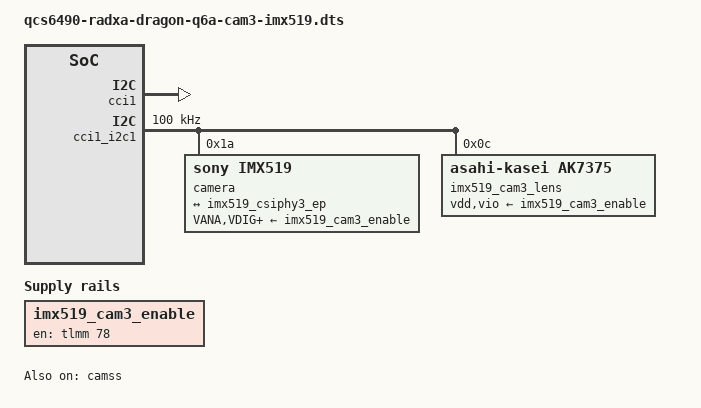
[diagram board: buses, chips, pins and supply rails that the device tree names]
// SPDX-License-Identifier: BSD-3-Clause
// Based on Radxa's CAM3 IMX219 overlay (radxa-overlays 0.2.30).
// Copyright (c) 2025 Radxa Computer (Shenzhen) Co., Ltd.
// Sensor and lens bindings follow raspberrypi/linux imx519.dtsi.
/dts-v1/;
/plugin/;

#include <dt-bindings/gpio/gpio.h>

/ {
    metadata {
        title = "Enable Arducam IMX519 on CAM3 (experimental)";
        compatible = "radxa,dragon-q6a";
        category = "camera";
        exclusive = "cci1_i2c1", "gpio78";
        description = "Arducam IMX519 with AK7375 lens on CAM3; requires external drivers.";
    };
};

&{/} {
    imx519_cam3_clk: imx519-cam3-clock {
        compatible = "fixed-clock";
        #clock-cells = <0>;
        clock-frequency = <24000000>;
    };

    // Arducam supplies its own oscillator and internal voltage regulators.
    // GPIO78 is the CAM3 module enable, as in Radxa's CAM3 overlay.
    imx519_cam3_enable: imx519-cam3-enable {
        compatible = "regulator-fixed";
        regulator-name = "imx519-cam3-enable";
        regulator-always-on;
        enable-active-high;
        gpio = <&tlmm 78 GPIO_ACTIVE_HIGH>;
        startup-delay-us = <10000>;
        pinctrl-names = "default";
        pinctrl-0 = <&imx519_cam3_enable_pins>;
    };
};

&{/reserved-memory} {
    linux,cma {
        compatible = "shared-dma-pool";
        size = <0x0 0x10000000>;
        reusable;
        linux,cma-default;
    };
};

&camss {
    vdda-phy-supply = <&vreg_l10c_0p88>;
    vdda-pll-supply = <&vreg_l6b_1p2>;
    status = "okay";

    ports {
        #address-cells = <1>;
        #size-cells = <0>;
        port@3 {
            reg = <3>;
            imx519_csiphy3_ep: endpoint {
                clock-lanes = <7>;
                data-lanes = <0 1>;
                clock-noncontinuous;
                remote-endpoint = <&imx519_cam3_ep>;
            };
        };
    };
};

&cci1 {
    status = "okay";
};

&cci1_i2c1 {
    #address-cells = <1>;
    #size-cells = <0>;
    clock-frequency = <100000>;
    status = "okay";

    camera@1a {
        compatible = "sony,imx519";
        reg = <0x1a>;
        clocks = <&imx519_cam3_clk>;
        clock-names = "xclk";
        VANA-supply = <&imx519_cam3_enable>;
        VDIG-supply = <&imx519_cam3_enable>;
        VDDL-supply = <&imx519_cam3_enable>;
        lens-focus = <&imx519_cam3_lens>;
        rotation = <0>;
        orientation = <2>;
        status = "okay";

        port {
            imx519_cam3_ep: endpoint {
                clock-lanes = <0>;
                data-lanes = <1 2>;
                clock-noncontinuous;
                link-frequencies = /bits/ 64 <408000000>;
                remote-endpoint = <&imx519_csiphy3_ep>;
            };
        };
    };

    imx519_cam3_lens: lens@c {
        compatible = "asahi-kasei,ak7375";
        reg = <0x0c>;
        vdd-supply = <&imx519_cam3_enable>;
        vio-supply = <&imx519_cam3_enable>;
        status = "okay";
    };
};

&tlmm {
    imx519_cam3_enable_pins: imx519-cam3-enable-state {
        pins = "gpio78";
        function = "gpio";
        drive-strength = <2>;
        bias-pull-up;
    };
};
